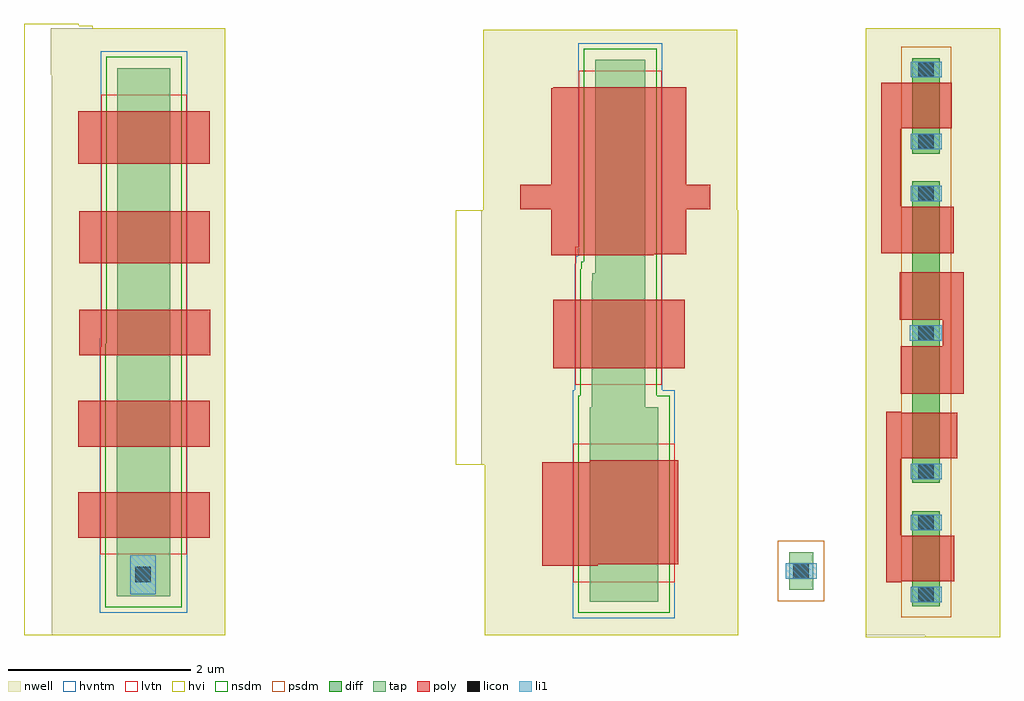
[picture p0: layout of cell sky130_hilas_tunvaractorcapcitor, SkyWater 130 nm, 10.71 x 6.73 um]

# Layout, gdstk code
import gdstk
lib = gdstk.Library(unit=1e-6, precision=1e-09)
def R(c, l, rs):  # rectangles x0, y0, x1, y1
    for r in rs: c.add(gdstk.rectangle(r[:2], r[2:], *l))
nwell = (64, 20)
diff = (65, 20)
tap = (65, 44)
poly = (66, 20)
licon = (66, 44)
li1 = (67, 20)
hvi = (75, 20)
nsdm = (93, 44)
psdm = (94, 20)
hvntm = (125, 20)
lvtn = (125, 44)

sky130_hilas_tunvaractor = lib.new_cell('sky130_hilas_tunvaractorcapcitor')
R(sky130_hilas_tunvaractor, nwell, [(-5.07,-4.42,-4.25,-4.4), (-14.65,-4.4,-12.75,1.75), (-9.9,-4.4,-7.12,-2.53), (-5.72,-4.4,-4.25,2.26), (-9.94,-2.53,-7.12,0.26), (-9.92,0.26,-7.13,2.24), (-14.66,1.75,-12.75,2.26)])
R(sky130_hilas_tunvaractor, diff, [(-5.21,-4.08,-4.91,-3.04), (-5.21,-2.73,-4.91,0.58), (-5.21,0.88,-4.91,1.93)])
R(sky130_hilas_tunvaractor, tap, [(-8.75,-4.03,-8,-1.9), (-13.94,-3.97,-13.35,-1.33), (-6.56,-3.9,-6.3,-3.49), (-8.73,-1.9,-8.14,-0.51), (-13.93,-1.33,-13.35,1.82), (-8.72,-0.51,-8.14,-0.43), (-8.69,-0.43,-8.14,1.91)])
R(sky130_hilas_tunvaractor, poly, [(-5.5,-3.82,-5.34,-3.81), (-5.5,-3.81,-4.75,-3.31), (-9.27,-3.64,-8.66,-3.62), (-9.27,-3.62,-7.78,-2.5), (-14.36,-3.33,-12.92,-2.83), (-5.5,-3.31,-5.34,-2.46), (-8.75,-2.5,-7.78,-2.48), (-5.5,-2.46,-4.72,-1.96), (-14.36,-2.33,-12.92,-1.83), (-5.5,-1.96,-5.34,-1.95), (-5.34,-1.75,-4.65,-1.23), (-9.15,-1.47,-7.71,-0.72), (-14.35,-1.33,-12.91,-0.83), (-4.88,-1.23,-4.65,-0.94), (-5.35,-0.94,-4.65,-0.42), (-14.35,-0.32,-12.92,0.25), (-9.17,-0.23,-8.05,-0.22), (-9.17,-0.22,-7.69,0.27), (-5.55,-0.21,-4.76,0.3), (-9.51,0.27,-7.43,0.54), (-5.55,0.3,-5.34,1.16), (-9.17,0.54,-7.69,1.6), (-14.36,0.77,-12.92,1.35), (-5.55,1.16,-4.78,1.66), (-9.15,1.6,-7.69,1.61)])
R(sky130_hilas_tunvaractor, licon, [(-5.145,-4.04,-4.975,-3.87), (-13.735,-3.82,-13.565,-3.65), (-6.515,-3.78,-6.345,-3.61), (-5.145,-3.25,-4.975,-3.08), (-5.145,-2.69,-4.975,-2.52), (-5.145,-1.17,-4.975,-1), (-5.145,0.36,-4.975,0.53), (-5.145,0.93,-4.975,1.1), (-5.145,1.72,-4.975,1.89)])
R(sky130_hilas_tunvaractor, li1, [(-5.23,-4.04,-4.89,-3.87), (-13.79,-3.95,-13.51,-3.52), (-6.6,-3.78,-6.26,-3.61), (-5.23,-3.25,-4.89,-3.08), (-5.23,-2.69,-4.89,-2.52), (-5.24,-1.17,-4.89,-1), (-5.23,0.36,-4.89,0.53), (-5.23,0.93,-4.89,1.1), (-5.23,1.72,-4.89,1.89)])
R(sky130_hilas_tunvaractor, hvi, [(-5.72,-4.42,-4.25,2.26), (-14.955,-4.4,-12.75,2.26), (-9.9,-4.4,-7.12,-2.53), (-10.22,-2.53,-7.12,0.26), (-9.92,0.26,-7.13,2.24), (-14.955,2.26,-14.2,2.285), (-14.955,2.285,-14.355,2.305)])
R(sky130_hilas_tunvaractor, nsdm, [(-8.875,-4.155,-7.875,-1.775), (-14.065,-4.095,-13.225,-1.205), (-8.855,-1.775,-8.015,-0.385), (-14.055,-1.205,-13.225,1.945), (-8.845,-0.385,-8.015,-0.305), (-8.815,-0.305,-8.015,2.035)])
R(sky130_hilas_tunvaractor, psdm, [(-5.335,-4.205,-4.785,2.055), (-6.685,-4.025,-6.175,-3.365)])
R(sky130_hilas_tunvaractor, hvntm, [(-8.935,-4.215,-7.815,-1.715), (-14.125,-4.155,-13.165,-1.145), (-8.915,-1.715,-7.955,-0.325), (-14.115,-1.145,-13.165,2.005), (-8.905,-0.325,-7.955,-0.245), (-8.875,-0.245,-7.955,2.095)])
R(sky130_hilas_tunvaractor, lvtn, [(-8.93,-3.82,-7.82,-2.3), (-14.12,-3.51,-13.17,-1.24), (-8.91,-1.65,-7.96,-0.14), (-14.11,-1.24,-13.17,1.53), (-8.87,-0.14,-7.96,1.79)])

lib.write_gds('sky130_hilas_tunvaractorcapcitor.gds')
